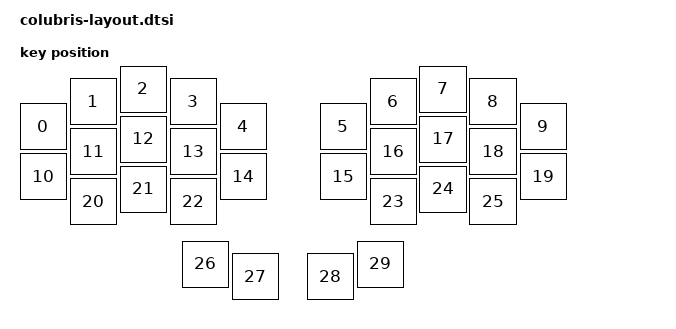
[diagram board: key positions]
#include <physical_layouts.dtsi>

/ {
    colubris_layout: colubris_layout {
        compatible = "zmk,physical-layout";
        display-name = "Default";

        keys  //                     w   h    x    y     rot    rx    ry
            = <&key_physical_attrs 100 100    0   75       0     0     0>
            , <&key_physical_attrs 100 100  100   25       0     0     0>
            , <&key_physical_attrs 100 100  200    0       0     0     0>
            , <&key_physical_attrs 100 100  300   25       0     0     0>
            , <&key_physical_attrs 100 100  400   75       0     0     0>
            , <&key_physical_attrs 100 100  600   75       0     0     0>
            , <&key_physical_attrs 100 100  700   25       0     0     0>
            , <&key_physical_attrs 100 100  800    0       0     0     0>
            , <&key_physical_attrs 100 100  900   25       0     0     0>
            , <&key_physical_attrs 100 100 1000   75       0     0     0>
            , <&key_physical_attrs 100 100    0  175       0     0     0>
            , <&key_physical_attrs 100 100  100  125       0     0     0>
            , <&key_physical_attrs 100 100  200  100       0     0     0>
            , <&key_physical_attrs 100 100  300  125       0     0     0>
            , <&key_physical_attrs 100 100  400  175       0     0     0>
            , <&key_physical_attrs 100 100  600  175       0     0     0>
            , <&key_physical_attrs 100 100  700  125       0     0     0>
            , <&key_physical_attrs 100 100  800  100       0     0     0>
            , <&key_physical_attrs 100 100  900  125       0     0     0>
            , <&key_physical_attrs 100 100 1000  175       0     0     0>
            , <&key_physical_attrs 100 100  100  225       0     0     0>
            , <&key_physical_attrs 100 100  200  200       0     0     0>
            , <&key_physical_attrs 100 100  300  225       0     0     0>
            , <&key_physical_attrs 100 100  700  225       0     0     0>
            , <&key_physical_attrs 100 100  800  200       0     0     0>
            , <&key_physical_attrs 100 100  900  225       0     0     0>
            , <&key_physical_attrs 100 100  325  350       0     0     0>
            , <&key_physical_attrs 100 100  425  375       0     0     0>
            , <&key_physical_attrs 100 100  575  375       0     0     0>
            , <&key_physical_attrs 100 100  675  350       0     0     0>
            ;
    };

    
    colubris_layout_position_map: colubris_layout_position_map {
        compatible = "zmk,physical-layout-position-map";
        complete; 
        colubris_posmap: full_posmap{
            physical-layout = <&colubris_layout>;
            positions //
                = < 0  1  2  3  4  5  6  7  8  9>
                , <10 11 12 13 14 15 16 17 18 19>
                , <   20 21 22       23 24 25>
                , <      26 27       28 29>
                ;
        };
    };
};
